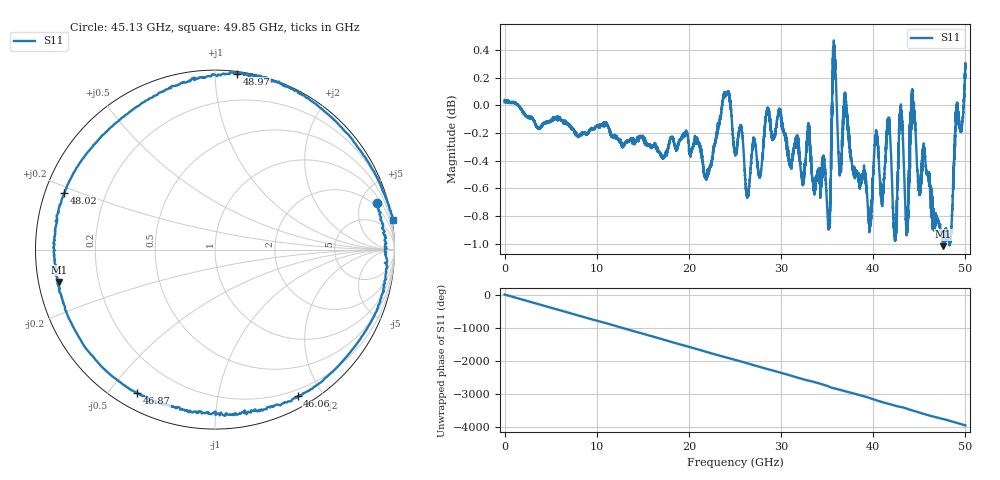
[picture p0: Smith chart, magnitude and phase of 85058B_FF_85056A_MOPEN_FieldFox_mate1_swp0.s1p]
!Created with skrf (http://scikit-rf.org).
# Hz S RI R 50.0
!freq ReS11 ImS11
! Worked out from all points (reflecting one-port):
!   10001 points, 300 kHz to 50 GHz, reference 50 ohm
!   lowest |S11| = -1.0 dB at 47.6 GHz (marker M1), VSWR 17.08, Z = 2.96 - j5.12 ohm
!   phase of S11 starts at 0 deg and turns -3963 deg over the sweep
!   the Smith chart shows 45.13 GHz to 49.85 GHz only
!   S11 on the Smith chart (normalised r, x): 45.13 GHz: 1.53, +6.71; 46.06 GHz: 0.13, -1.70; 46.87 GHz: 0.06, -0.59; 48.02 GHz: 0.06, +0.18; 48.97 GHz: 0.02, +1.13; 49.85 GHz: -0, +12
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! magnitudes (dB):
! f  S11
! 300 kHz  0.0
! 6.25 GHz  -0.1
! 12.5 GHz  -0.3
! 18.75 GHz  -0.3
! 21.94 GHz  -0.5
! 24.11 GHz  0.1
! 25 GHz  -0.3
! 31.25 GHz  -0.4
! 35.15 GHz  -0.9
! 35.79 GHz  0.4
! 36.35 GHz  -0.5
! 36.96 GHz  0.1
! 37.5 GHz  -0.3
! 39.63 GHz  -0.9
! 40.28 GHz  -0.2
! 41.66 GHz  -0.1
! 42.35 GHz  -1.0
! 43.03 GHz  0.0
! 43.75 GHz  -0.8
! 44.26 GHz  0.0
! 45.13 GHz  -0.6
! 46.06 GHz  -0.6
! 46.87 GHz  -0.8
! 47.6 GHz  -1.0
! 48.02 GHz  -0.9
! 48.97 GHz  -0.1
! 49.85 GHz  0.0
! 50 GHz  0.3
